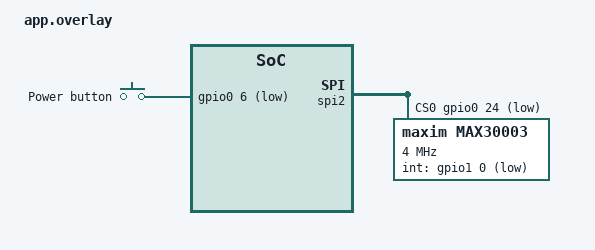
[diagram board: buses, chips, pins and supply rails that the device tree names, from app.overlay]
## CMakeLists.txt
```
cmake_minimum_required(VERSION 3.20.0)

find_package(Zephyr REQUIRED HINTS $ENV{ZEPHYR_BASE})
project(tinycardia_nrf52840)

target_sources(app PRIVATE
  src/main.c
  src/ble_protocol.c
  src/ble_service.c
  src/ecg_processing.c
  src/ecg_processor.c
  src/max30003.c
  src/power_control.c
)

target_include_directories(app PRIVATE include)
```

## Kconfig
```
# SPDX-License-Identifier: MIT

mainmenu "Tinycardia firmware"

menu "Tinycardia power control"

config TINYCARDIA_POWER_BUTTON_DEBUG
	bool "Log power-button and power-state transitions"
	help
	  Bench mode for diagnosing the active-low power button. Startup still
	  requires a valid three-second hold and the application runs normally.
	  While the system is ON, the firmware logs press/release transitions,
	  held time, and each accepted power-off hold. An accepted runtime hold
	  turns off the status LED and enters System OFF after logging acceptance.
	  The USB CDC console disconnects when System OFF is entered.

endmenu

menu "Tinycardia BLE protocol"

config TINYCARDIA_BLE_ECG_QUEUE_DEPTH
	int "Buffered ECG samples available to BLE streaming"
	default 64
	range 10 512
	help
	  Bounded producer-consumer queue between deterministic MAX30003
	  acquisition and asynchronous BLE notification work. Queue overflow is
	  counted in Device Status samples_dropped.

config TINYCARDIA_BLE_INFERENCE_QUEUE_DEPTH
	int "Buffered inference notifications"
	default 4
	range 1 32

config TINYCARDIA_BLE_THREAD_STACK_SIZE
	int "BLE protocol work-queue stack size in bytes"
	default 2048
	range 1024 8192

config TINYCARDIA_BLE_THREAD_PRIORITY
	int "BLE protocol work-queue priority"
	default 6
	range 0 15
	help
	  Preemptible BLE packetization/notification priority. The default is
	  lower priority than ECG preprocessing and higher than power polling.

endmenu

menu "Tinycardia MAX30003"

config TINYCARDIA_MAX30003_STATUS_POLL_MS
	int "MAX30003 health and lead/contact status period (ms)"
	default 1000
	range 250 10000
	help
	  Period for reading MAX30003 STATUS while monitoring. This provides
	  restrained lead/contact transition reporting and also detects a stalled
	  ECG acquisition path. Device Status is notified only when lead state
	  changes; it is not notified at this fixed rate.

endmenu

menu "Tinycardia ECG processing"

config TINYCARDIA_ECG_THREAD_STACK_SIZE
	int "ECG processing thread stack size in bytes"
	default 4096
	range 1024 8192
	help
	  Stack reserved for window standardization, R-peak detection, RR feature
	  extraction, and the future inference callback.

config TINYCARDIA_ECG_THREAD_PRIORITY
	int "ECG processing thread priority"
	default 5
	range 0 15
	help
	  Preemptible Zephyr thread priority used for completed ECG windows.

endmenu

menu "Tinycardia AFib inference"

config TINYCARDIA_MODEL_TENSOR_ARENA_SIZE
	int "TFLite Micro tensor arena size in bytes"
	default 98304
	range 65536 163840
	help
	  Static memory reserved for TFLite Micro tensors, persistent operator
	  data, and CMSIS-NN scratch buffers. Keep this value close to the
	  measured arena usage while retaining a small compatibility margin.

endmenu

source "Kconfig.zephyr"
```

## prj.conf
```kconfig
CONFIG_SERIAL=y
CONFIG_CONSOLE=y
CONFIG_UART_CONSOLE=y
CONFIG_PRINTK=y
CONFIG_LOG=y
CONFIG_COMPILER_WARNINGS_AS_ERRORS=y

CONFIG_GPIO=y
CONFIG_SPI=y
CONFIG_POWEROFF=y
CONFIG_FPU=y

CONFIG_CPP=y
CONFIG_STD_CPP17=y
CONFIG_TENSORFLOW_LITE_MICRO=y
CONFIG_TENSORFLOW_LITE_MICRO_CMSIS_NN_KERNELS=y

# Log power-button and power-state transitions over USB serial.
CONFIG_TINYCARDIA_POWER_BUTTON_DEBUG=y

CONFIG_BT=y
CONFIG_BT_PERIPHERAL=y
CONFIG_BT_DEVICE_NAME="Tinycardia"
CONFIG_BT_MAX_CONN=1
CONFIG_BT_BUF_ACL_RX_SIZE=69
CONFIG_BT_L2CAP_TX_MTU=65

CONFIG_BT_DIS=y
CONFIG_BT_DIS_MODEL_NUMBER=y
CONFIG_BT_DIS_MODEL_NUMBER_STR="Tinycardia v2"
CONFIG_BT_DIS_MANUF_NAME=y
CONFIG_BT_DIS_MANUF_NAME_STR="Tinycardia"
```

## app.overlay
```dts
#include <zephyr/dt-bindings/gpio/gpio.h>
#include <zephyr/dt-bindings/pinctrl/nrf-pinctrl.h>

/ {
	aliases {
		power-button = &power_button;
	};

	buttons {
		compatible = "gpio-keys";

		power_button: power_button {
			gpios = <&gpio0 6 (GPIO_PULL_UP | GPIO_ACTIVE_LOW)>;
			label = "Power button";
		};
	};
};

/* P1.00 is used by MAX30003 INT1, not the board's default I2C0 SDA. */
&i2c0 {
	status = "disabled";
};

&spi2_default {
	group1 {
		psels = <NRF_PSEL(SPIM_SCK, 0, 22)>,
			<NRF_PSEL(SPIM_MOSI, 0, 20)>,
			<NRF_PSEL(SPIM_MISO, 0, 17)>;
	};
};

&spi2_sleep {
	group1 {
		psels = <NRF_PSEL(SPIM_SCK, 0, 22)>,
			<NRF_PSEL(SPIM_MOSI, 0, 20)>,
			<NRF_PSEL(SPIM_MISO, 0, 17)>;
		low-power-enable;
	};
};

&spi2 {
	compatible = "nordic,nrf-spim";
	status = "okay";
	cs-gpios = <&gpio0 24 GPIO_ACTIVE_LOW>;

	max30003: max30003@0 {
		compatible = "maxim,max30003";
		reg = <0>; // spi chip select index
		spi-max-frequency = <4000000>; // max of 4 MHz
		int-gpios = <&gpio1 0 (GPIO_PULL_UP | GPIO_ACTIVE_LOW)>; // P1.00
	};
};
```

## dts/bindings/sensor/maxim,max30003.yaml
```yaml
description: Maxim MAX30003 single-channel ECG analog front end

compatible: "maxim,max30003"

include: spi-device.yaml

properties:
  int-gpios:
    type: phandle-array
    required: true
    description: Active-low INT1 interrupt signal
```

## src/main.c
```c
/* SPDX-License-Identifier: MIT */

#include "ble_service.h"
#include "ecg_processing.h"
#include "ecg_processor.h"
#include "inference_policy.h"
#include "max30003.h"
#include "model_inference.h"
#include "power_control.h"

#include <zephyr/kernel.h>
#include <zephyr/logging/log.h>
#include <zephyr/sys/printk.h>
#include <zephyr/sys/util.h>

LOG_MODULE_REGISTER(tinycardia, CONFIG_LOG_DEFAULT_LEVEL);

struct signal_quality_state {
	enum tinycardia_signal_quality current;
	uint64_t good_since_ms;
};

static struct k_spinlock signal_quality_lock;
static struct signal_quality_state signal_quality = {
	.current = TINYCARDIA_SIGNAL_QUALITY_UNKNOWN,
};

static void update_signal_quality(enum tinycardia_signal_quality quality)
{
	uint64_t now_ms = (uint64_t)k_uptime_get();
	k_spinlock_key_t key = k_spin_lock(&signal_quality_lock);

	if (quality == TINYCARDIA_SIGNAL_QUALITY_GOOD &&
	    signal_quality.current != TINYCARDIA_SIGNAL_QUALITY_GOOD) {
		signal_quality.good_since_ms = now_ms;
	}
	signal_quality.current = quality;
	k_spin_unlock(&signal_quality_lock, key);
}

static void prepared_window_handler(const struct ecg_prepared_window *window,
				    void *user_data)
{
	struct tinycardia_model_result result;
	struct signal_quality_state quality;
	k_spinlock_key_t quality_key;
	uint64_t now_ms;
	uint64_t window_start_ms;
	int32_t window_start_offset_ms;
	uint32_t model_start_cycles;
	uint32_t model_time_us;
	int err;

	ARG_UNUSED(user_data);

	LOG_INF("ECG window prepared: %u samples, %u R peaks, RR features %s",
		(unsigned int)window->sample_count,
		(unsigned int)window->r_peak_count,
		window->rr_features_valid ? "ready" : "insufficient R peaks");

	quality_key = k_spin_lock(&signal_quality_lock);
	quality = signal_quality;
	k_spin_unlock(&signal_quality_lock, quality_key);
	now_ms = (uint64_t)k_uptime_get();
	window_start_offset_ms = (int32_t)(window->start_timestamp_ms -
		(uint32_t)now_ms);
	window_start_ms = (uint64_t)((int64_t)now_ms +
		(int64_t)window_start_offset_ms);
	if (!tinycardia_inference_window_is_eligible(
		window->rr_features_valid, quality.current,
		window_start_ms, quality.good_since_ms)) {
		LOG_WRN("Inference skipped: RR valid %u, signal quality %u",
			(unsigned int)window->rr_features_valid,
			(unsigned int)quality.current);
		return;
	}

	model_start_cycles = k_cycle_get_32();
	err = tinycardia_model_infer(window->ecg_samples, window->sample_count,
				     window->rr_features,
				     ECG_PROCESSOR_RR_FEATURE_COUNT, &result);
	if (err < 0) {
		LOG_ERR("AFib inference failed: %d", err);
		tinycardia_ble_status_set_error(true);
		return;
	}
	model_time_us = (uint32_t)k_cyc_to_us_floor64(
		(uint32_t)(k_cycle_get_32() - model_start_cycles));

	err = tinycardia_ble_inference_publish(
		window->end_timestamp_ms, result.classification,
		TINYCARDIA_SIGNAL_QUALITY_GOOD, result.confidence);
	if (err < 0) {
		LOG_ERR("BLE inference publication failed: %d", err);
		return;
	}

	LOG_INF("Inference accepted: class %u, confidence %u, prep %u us, invoke %u us, total %u us",
		(unsigned int)result.classification,
		(unsigned int)result.confidence,
		(unsigned int)window->preparation_time_us,
		(unsigned int)result.invoke_time_us,
		(unsigned int)(window->preparation_time_us + model_time_us));
}

static void live_ecg_sample_handler(uint32_t raw_word, uint32_t timestamp_ms,
				    void *user_data)
{
	bool processing_preserved;

	ARG_UNUSED(user_data);
	processing_preserved = ecg_processor_submit_sample(raw_word, timestamp_ms);
	tinycardia_ble_ecg_sample(ecg_decode_raw_sample(raw_word), timestamp_ms,
				    processing_preserved);
}

static void lead_status_handler(enum max30003_lead_status status, void *user_data)
{
	enum tinycardia_lead_status protocol_status;

	ARG_UNUSED(user_data);

	switch (status) {
	case MAX30003_LEAD_STATUS_GOOD:
		protocol_status = TINYCARDIA_LEAD_STATUS_GOOD;
		update_signal_quality(TINYCARDIA_SIGNAL_QUALITY_GOOD);
		break;
	case MAX30003_LEAD_STATUS_NEGATIVE_OFF:
		/* MAX30003 ECGN is protocol lead/contact 1. */
		protocol_status = TINYCARDIA_LEAD_STATUS_LEAD_1_OFF;
		update_signal_quality(TINYCARDIA_SIGNAL_QUALITY_LEAD_OFF);
		break;
	case MAX30003_LEAD_STATUS_POSITIVE_OFF:
		/* MAX30003 ECGP is protocol lead/contact 2. */
		protocol_status = TINYCARDIA_LEAD_STATUS_LEAD_2_OFF;
		update_signal_quality(TINYCARDIA_SIGNAL_QUALITY_LEAD_OFF);
		break;
	case MAX30003_LEAD_STATUS_BOTH_OFF:
		protocol_status = TINYCARDIA_LEAD_STATUS_BOTH_OFF;
		update_signal_quality(TINYCARDIA_SIGNAL_QUALITY_LEAD_OFF);
		break;
	case MAX30003_LEAD_STATUS_UNKNOWN:
	default:
		protocol_status = TINYCARDIA_LEAD_STATUS_UNKNOWN;
		update_signal_quality(TINYCARDIA_SIGNAL_QUALITY_UNKNOWN);
		break;
	}

	(void)tinycardia_ble_status_set_lead(protocol_status);
}

static void dropped_sample_handler(uint32_t minimum_dropped, void *user_data)
{
	ARG_UNUSED(user_data);
	tinycardia_ble_record_dropped_samples(minimum_dropped);
}

static int set_monitoring(bool enabled, void *user_data)
{
	int err;

	ARG_UNUSED(user_data);

	if (!enabled) {
		err = max30003_set_monitoring(false);
		if (err < 0) {
			(void)ecg_processor_set_monitoring(max30003_is_monitoring());
			return err;
		}
		err = ecg_processor_set_monitoring(false);
		if (err == 0) {
			update_signal_quality(TINYCARDIA_SIGNAL_QUALITY_UNKNOWN);
			(void)tinycardia_ble_status_set_lead(
				TINYCARDIA_LEAD_STATUS_UNKNOWN);
		}
		return err;
	}

	(void)tinycardia_ble_status_set_lead(TINYCARDIA_LEAD_STATUS_CHECKING);
	update_signal_quality(TINYCARDIA_SIGNAL_QUALITY_UNKNOWN);
	err = ecg_processor_set_monitoring(true);
	if (err < 0) {
		return err;
	}
	err = max30003_set_monitoring(true);
	if (err < 0) {
		(void)ecg_processor_set_monitoring(max30003_is_monitoring());
		return err;
	}

	return 0;
}

static const struct tinycardia_ble_callbacks ble_callbacks = {
	.set_monitoring = set_monitoring,
};

int main(void)
{
	int err;

	err = power_control_wait_for_on();
	printk("power_control_wait_for_on returned %d\n", err);
	if (err < 0) {
		printk("Power-button initialization failed (err %d)\n", err);
		return 0;
	}

	printk("Tinycardia v2 booted\n");

	err = power_control_start_off_monitor();
	if (err < 0) {
		printk("Runtime power-button monitor initialization failed (err %d)\n", err);
		return 0;
	}

	update_signal_quality(TINYCARDIA_SIGNAL_QUALITY_UNKNOWN);
	err = tinycardia_model_init();
	if (err < 0) {
		printk("AFib model initialization failed (err %d)\n", err);
		return 0;
	}

	err = ecg_processor_init(prepared_window_handler, NULL);
	if (err < 0) {
		printk("ECG processor initialization failed (err %d)\n", err);
		return 0;
	}

	err = max30003_init(live_ecg_sample_handler, NULL);
	if (err < 0) {
		printk("MAX30003 initialization failed (err %d)\n", err);
		return 0;
	}

	err = tinycardia_ble_init(&ble_callbacks, NULL, true);
	if (err < 0) {
		printk("Bluetooth initialization failed (err %d)\n", err);
		return 0;
	}
	max30003_set_lead_status_handler(lead_status_handler, NULL);
	max30003_set_drop_handler(dropped_sample_handler, NULL);

	return 0;
}
```

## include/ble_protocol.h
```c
/* SPDX-License-Identifier: MIT */

#ifndef TINYCARDIA_BLE_PROTOCOL_H_
#define TINYCARDIA_BLE_PROTOCOL_H_

#include <stdbool.h>
#include <stddef.h>
#include <stdint.h>

#define TINYCARDIA_PROTOCOL_VERSION 0x01U

#define TINYCARDIA_ECG_MAX_SAMPLES        10U
#define TINYCARDIA_ECG_HEADER_SIZE        10U
#define TINYCARDIA_ECG_SAMPLE_SIZE        4U
#define TINYCARDIA_ECG_FULL_PACKET_SIZE   50U
#define TINYCARDIA_INFERENCE_PACKET_SIZE  13U
#define TINYCARDIA_STATUS_PACKET_SIZE     19U
#define TINYCARDIA_ATT_NOTIFICATION_OVERHEAD 3U
#define TINYCARDIA_ECG_FULL_PACKET_ATT_MTU    53U
#define TINYCARDIA_CONFIDENCE_UNAVAILABLE     UINT16_MAX

enum tinycardia_classification {
	TINYCARDIA_CLASSIFICATION_NORMAL = 0x00,
	TINYCARDIA_CLASSIFICATION_AFIB = 0x01,
	TINYCARDIA_CLASSIFICATION_UNKNOWN = 0x02,
};

enum tinycardia_signal_quality {
	TINYCARDIA_SIGNAL_QUALITY_GOOD = 0x00,
	TINYCARDIA_SIGNAL_QUALITY_POOR = 0x01,
	TINYCARDIA_SIGNAL_QUALITY_LEAD_OFF = 0x02,
	TINYCARDIA_SIGNAL_QUALITY_UNKNOWN = 0x03,
};

enum tinycardia_lead_status {
	TINYCARDIA_LEAD_STATUS_GOOD = 0x00,
	TINYCARDIA_LEAD_STATUS_LEAD_1_OFF = 0x01,
	TINYCARDIA_LEAD_STATUS_LEAD_2_OFF = 0x02,
	TINYCARDIA_LEAD_STATUS_BOTH_OFF = 0x03,
	TINYCARDIA_LEAD_STATUS_CHECKING = 0x04,
	TINYCARDIA_LEAD_STATUS_UNKNOWN = 0x05,
};

enum tinycardia_operating_state {
	TINYCARDIA_OPERATING_STATE_IDLE = 0x00,
	TINYCARDIA_OPERATING_STATE_MONITORING = 0x01,
	TINYCARDIA_OPERATING_STATE_MONITORING_AND_STREAMING = 0x02,
	TINYCARDIA_OPERATING_STATE_ERROR = 0x03,
};

enum tinycardia_control_command {
	TINYCARDIA_CONTROL_START_STREAM = 0x01,
	TINYCARDIA_CONTROL_STOP_STREAM = 0x02,
	TINYCARDIA_CONTROL_START_MONITORING = 0x03,
	TINYCARDIA_CONTROL_STOP_MONITORING = 0x04,
};

struct tinycardia_inference_result {
	uint32_t inference_id;
	uint32_t timestamp_ms;
	enum tinycardia_classification classification;
	enum tinycardia_signal_quality signal_quality;
	uint16_t confidence;
};

struct tinycardia_status {
	uint32_t uptime_s;
	uint32_t samples_acquired;
	uint32_t samples_dropped;
	uint32_t inference_count;
	enum tinycardia_lead_status lead_status;
	enum tinycardia_operating_state operating_state;
};

struct tinycardia_protocol_state {
	bool monitoring;
	bool streaming;
	bool error;
};

struct tinycardia_transport_state {
	bool connected;
	bool ecg_subscribed;
	uint8_t max_ecg_samples;
};

/** Serialize an ECG packet without relying on native structure layout. */
int tinycardia_encode_ecg_packet(uint8_t *buffer, size_t capacity,
				 uint32_t sequence, uint32_t timestamp_ms,
				 const int32_t *samples, uint8_t sample_count,
				 size_t *encoded_size);

/** Serialize one completed inference result. */
int tinycardia_encode_inference_packet(uint8_t *buffer, size_t capacity,
				       const struct tinycardia_inference_result *result);

/** Serialize the current readable/notifiable device status. */
int tinycardia_encode_status_packet(uint8_t *buffer, size_t capacity,
				    const struct tinycardia_status *status);

/** Return the number of int32 ECG samples that fit in one notification. */
uint8_t tinycardia_ecg_samples_for_att_mtu(uint16_t att_mtu);

/** True when a wrapping uptime timestamp belongs to the current session. */
bool tinycardia_timestamp_is_in_session(uint32_t timestamp_ms,
					uint32_t session_start_ms);

/** Validate and decode the exact one-byte Device Control payload. */
int tinycardia_decode_control(const uint8_t *buffer, size_t length,
			       enum tinycardia_control_command *command);

/** Apply one validated control command to the protocol state. */
int tinycardia_apply_control(struct tinycardia_protocol_state *state,
			     enum tinycardia_control_command command,
			     const struct tinycardia_transport_state *transport);

/** A disconnect stops connection streaming but leaves monitoring unchanged. */
void tinycardia_state_on_disconnect(struct tinycardia_protocol_state *state);

enum tinycardia_operating_state
tinycardia_get_operating_state(const struct tinycardia_protocol_state *state);

#endif /* TINYCARDIA_BLE_PROTOCOL_H_ */
```

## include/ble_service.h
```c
/* SPDX-License-Identifier: MIT */

#ifndef TINYCARDIA_BLE_SERVICE_H_
#define TINYCARDIA_BLE_SERVICE_H_

#include "ble_protocol.h"

#include <stdbool.h>
#include <stdint.h>

#include <zephyr/bluetooth/uuid.h>

/*
 * Tinycardia vendor UUID family (fixed for protocol v1):
 *   f8a50001-7c5b-4e91-a6d2-3b1c9e4f5200  service
 *   f8a50002-7c5b-4e91-a6d2-3b1c9e4f5200  ECG Stream
 *   f8a50003-7c5b-4e91-a6d2-3b1c9e4f5200  Inference Result
 *   f8a50004-7c5b-4e91-a6d2-3b1c9e4f5200  Device Status
 *   f8a50005-7c5b-4e91-a6d2-3b1c9e4f5200  Device Control
 */
#define TINYCARDIA_UUID_SERVICE_VAL \
	BT_UUID_128_ENCODE(0xf8a50001, 0x7c5b, 0x4e91, 0xa6d2, 0x3b1c9e4f5200)
#define TINYCARDIA_UUID_ECG_STREAM_VAL \
	BT_UUID_128_ENCODE(0xf8a50002, 0x7c5b, 0x4e91, 0xa6d2, 0x3b1c9e4f5200)
#define TINYCARDIA_UUID_INFERENCE_VAL \
	BT_UUID_128_ENCODE(0xf8a50003, 0x7c5b, 0x4e91, 0xa6d2, 0x3b1c9e4f5200)
#define TINYCARDIA_UUID_STATUS_VAL \
	BT_UUID_128_ENCODE(0xf8a50004, 0x7c5b, 0x4e91, 0xa6d2, 0x3b1c9e4f5200)
#define TINYCARDIA_UUID_CONTROL_VAL \
	BT_UUID_128_ENCODE(0xf8a50005, 0x7c5b, 0x4e91, 0xa6d2, 0x3b1c9e4f5200)

struct tinycardia_ble_callbacks {
	int (*set_monitoring)(bool enabled, void *user_data);
};

/** Enable Bluetooth, register callbacks, and begin Tinycardia advertising. */
int tinycardia_ble_init(const struct tinycardia_ble_callbacks *callbacks,
			void *user_data, bool monitoring_enabled);

/** Current logical monitoring state, independent of BLE connection state. */
bool tinycardia_ble_is_monitoring(void);

/**
 * Record and optionally queue one acquired signed MAX30003 sample.
 *
 * This function is non-blocking and is called from the MAX30003 work handler,
 * never from its GPIO ISR. processing_preserved is false when the analysis
 * path could not retain the sample; that and BLE queue failures contribute to
 * samples_dropped exactly once for this sample.
 */
void tinycardia_ble_ecg_sample(int32_t sample, uint32_t timestamp_ms,
				       bool processing_preserved);

/** Record samples lost below the application acquisition callback. */
void tinycardia_ble_record_dropped_samples(uint32_t count);

/** Publish one real completed inference result; no result is fabricated here. */
int tinycardia_ble_inference_publish(uint32_t timestamp_ms,
				     enum tinycardia_classification classification,
				     enum tinycardia_signal_quality signal_quality,
				     uint16_t confidence);

/** Update the standard Battery Level value and notify subscribers on change. */
int tinycardia_ble_battery_set_level(uint8_t percentage);

/** Update lead/contact status and notify Device Status subscribers on change. */
int tinycardia_ble_status_set_lead(enum tinycardia_lead_status lead_status);

/** Set or clear the explicit ERROR operating state. */
void tinycardia_ble_status_set_error(bool error);

#endif /* TINYCARDIA_BLE_SERVICE_H_ */
```

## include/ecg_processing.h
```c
/* SPDX-License-Identifier: MIT */

#ifndef TINYCARDIA_ECG_PROCESSING_H_
#define TINYCARDIA_ECG_PROCESSING_H_

#include "ecg_processor.h"

#include <stdbool.h>
#include <stddef.h>
#include <stdint.h>

#define ECG_PROCESSING_MAX_R_PEAKS 64U

enum ecg_window_append_result {
	ECG_WINDOW_SAMPLE_STORED,
	ECG_WINDOW_COMPLETED,
	ECG_WINDOW_ALREADY_FULL,
};

struct ecg_sample_window {
	float samples[ECG_PROCESSOR_WINDOW_SIZE];
	size_t count;
};

struct ecg_processing_workspace {
	float squared_derivative[ECG_PROCESSOR_WINDOW_SIZE];
	float integrated_signal[ECG_PROCESSOR_WINDOW_SIZE];
	size_t r_peak_indices[ECG_PROCESSING_MAX_R_PEAKS];
};

struct ecg_rr_result {
	float intervals_ms[ECG_PROCESSING_MAX_R_PEAKS - 1U];
	size_t interval_count;
	float features_unscaled[ECG_PROCESSOR_RR_FEATURE_COUNT];
	float features_standardized[ECG_PROCESSOR_RR_FEATURE_COUNT];
	bool features_valid;
};

struct ecg_processing_result {
	struct ecg_rr_result rr;
	size_t r_peak_count;
};

/** Extract the signed 18-bit ECG sample while ignoring FIFO tag/status bits. */
int32_t ecg_decode_raw_sample(uint32_t raw_word);

/** Decode one MAX30003 FIFO word and convert the sample to millivolts. */
float ecg_decode_sample_mv(uint32_t raw_word);

void ecg_sample_window_reset(struct ecg_sample_window *window);

enum ecg_window_append_result ecg_sample_window_append(struct ecg_sample_window *window,
							       float sample);

/**
 * Compute RR intervals and model features from ordered, in-window peak indices.
 *
 * Fewer than three peaks is a valid but unavailable result: intervals are
 * reported when possible, features are zero before standardization, and
 * features_valid is false.
 */
int ecg_extract_rr_features(const size_t *peak_indices, size_t peak_count,
			    struct ecg_rr_result *result);

/** Standardize a complete window and prepare both model input branches. */
int ecg_prepare_model_inputs(struct ecg_sample_window *window,
			     struct ecg_processing_workspace *workspace,
			     struct ecg_processing_result *result);

#endif /* TINYCARDIA_ECG_PROCESSING_H_ */
```

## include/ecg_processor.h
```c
/* SPDX-License-Identifier: MIT */

#ifndef TINYCARDIA_ECG_PROCESSOR_H_
#define TINYCARDIA_ECG_PROCESSOR_H_

#include <stdbool.h>
#include <stddef.h>
#include <stdint.h>

#define ECG_PROCESSOR_SAMPLE_RATE_HZ   256U
#define ECG_PROCESSOR_WINDOW_SECONDS   10U
#define ECG_PROCESSOR_WINDOW_SIZE      (ECG_PROCESSOR_SAMPLE_RATE_HZ * ECG_PROCESSOR_WINDOW_SECONDS)
#define ECG_PROCESSOR_RR_FEATURE_COUNT 7U

enum ecg_rr_feature_index {
	ECG_RR_MEAN_RR_MS,
	ECG_RR_SDNN_MS,
	ECG_RR_RMSSD_MS,
	ECG_RR_PNN50,
	ECG_RR_PNN20,
	ECG_RR_SD1_MS,
	ECG_RR_SD2_MS,
};

/**
 * Prepared model inputs for one non-overlapping ECG window.
 *
 * The ECG samples and RR features are standardized using the same constants as
 * the model-training pipeline. The unscaled RR features are provided for
 * diagnostics. All pointers remain valid only for the duration of the handler.
 */
struct ecg_prepared_window {
	const float *ecg_samples;
	const float *rr_features;
	const float *rr_features_unscaled;
	size_t sample_count;
	size_t r_peak_count;
	bool rr_features_valid;
	uint32_t start_timestamp_ms;
	uint32_t end_timestamp_ms;
	uint32_t preparation_time_us;
};

typedef void (*ecg_window_handler_t)(const struct ecg_prepared_window *window, void *user_data);

/**
 * Initialize the ECG window processor.
 *
 * The window handler runs on the ECG processing thread and owns its completed
 * slot until it returns. Acquisition concurrently fills the second slot, so
 * normal preprocessing does not create a sampling gap.
 */
int ecg_processor_init(ecg_window_handler_t window_handler, void *user_data);

/** Start or stop normal 10-second window capture and preprocessing. */
int ecg_processor_set_monitoring(bool enabled);

/**
 * Submit one acquired sample with its acquisition timestamp.
 *
 * Returns true when the analysis path preserved the sample and false when
 * monitoring was stopped or both bounded window slots were occupied.
 */
bool ecg_processor_submit_sample(uint32_t raw_word, uint32_t timestamp_ms);

/** Compatibility callback using current uptime as the sample timestamp. */
void ecg_processor_sample_handler(uint32_t raw_word, void *user_data);

#endif /* TINYCARDIA_ECG_PROCESSOR_H_ */
```

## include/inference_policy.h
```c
#ifndef TINYCARDIA_INFERENCE_POLICY_H_
#define TINYCARDIA_INFERENCE_POLICY_H_

#include "ble_protocol.h"
#include <stdbool.h>
#include <stdint.h>

static inline bool
tinycardia_inference_window_is_eligible(bool rr_features_valid,
					enum tinycardia_signal_quality current_quality,
					uint64_t window_start_ms, uint64_t quality_good_since_ms)
{
	return rr_features_valid && current_quality == TINYCARDIA_SIGNAL_QUALITY_GOOD &&
	       window_start_ms >= quality_good_since_ms;
}

#endif /* TINYCARDIA_INFERENCE_POLICY_H_ */
```

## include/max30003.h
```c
#ifndef TINYCARDIA_MAX30003_H_
#define TINYCARDIA_MAX30003_H_

#include <stdbool.h>
#include <stdint.h>

typedef void (*max30003_sample_handler_t)(uint32_t raw_word, uint32_t timestamp_ms,
					 void *user_data);

enum max30003_lead_status {
	MAX30003_LEAD_STATUS_GOOD,
	MAX30003_LEAD_STATUS_NEGATIVE_OFF,
	MAX30003_LEAD_STATUS_POSITIVE_OFF,
	MAX30003_LEAD_STATUS_BOTH_OFF,
	MAX30003_LEAD_STATUS_UNKNOWN,
};

typedef void (*max30003_lead_status_handler_t)(enum max30003_lead_status status,
					       void *user_data);
typedef void (*max30003_drop_handler_t)(uint32_t minimum_dropped, void *user_data);

/* Initializes SPI, INT1, and the ECG acquisition registers. */
int max30003_init(max30003_sample_handler_t sample_handler, void *user_data);

/* Enable or disable the ECG front end and its FIFO interrupt path. */
int max30003_set_monitoring(bool enabled);

/* Current driver-level acquisition state after any transition rollback. */
bool max30003_is_monitoring(void);

/* Register for meaningful DC lead-off transitions detected while monitoring. */
void max30003_set_lead_status_handler(max30003_lead_status_handler_t handler,
				      void *user_data);

/* Register for FIFO discontinuities; the count is a conservative lower bound. */
void max30003_set_drop_handler(max30003_drop_handler_t handler, void *user_data);

int max30003_read_register(uint8_t reg, uint32_t *value);
int max30003_write_register(uint8_t reg, uint32_t value);
int max30003_sanity_check(uint32_t *info);
int max30003_dump_registers(void);

#endif /* TINYCARDIA_MAX30003_H_ */
```

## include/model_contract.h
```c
#ifndef TINYCARDIA_MODEL_CONTRACT_H_
#define TINYCARDIA_MODEL_CONTRACT_H_

#include <math.h>
#include <stdint.h>

#define TINYCARDIA_MODEL_ECG_COUNT   2560U
#define TINYCARDIA_MODEL_RR_COUNT    7U
#define TINYCARDIA_MODEL_CLASS_COUNT 2U

#define TINYCARDIA_MODEL_RR_SCALE          0.014579945243895054f
#define TINYCARDIA_MODEL_RR_ZERO_POINT     (-27)
#define TINYCARDIA_MODEL_ECG_SCALE         0.04720002040266991f
#define TINYCARDIA_MODEL_ECG_ZERO_POINT    (-15)
#define TINYCARDIA_MODEL_OUTPUT_SCALE      0.00390625f
#define TINYCARDIA_MODEL_OUTPUT_ZERO_POINT (-128)

static inline int8_t tinycardia_model_quantize(float value, float scale, int32_t zero_point)
{
	long quantized = lroundf(value / scale) + zero_point;

	if (quantized < INT8_MIN) {
		quantized = INT8_MIN;
	} else if (quantized > INT8_MAX) {
		quantized = INT8_MAX;
	}

	return (int8_t)quantized;
}

static inline float tinycardia_model_dequantize(int8_t value, float scale, int32_t zero_point)
{
	return ((float)value - (float)zero_point) * scale;
}

#endif /* TINYCARDIA_MODEL_CONTRACT_H_ */
```

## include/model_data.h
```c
#ifndef TINYCARDIA_MODEL_DATA_H_
#define TINYCARDIA_MODEL_DATA_H_

#include <stddef.h>

#ifdef __cplusplus
extern "C" {
#endif

extern const unsigned char tinycardia_model_data[];
extern const size_t tinycardia_model_data_size;

#ifdef __cplusplus
}
#endif

#endif /* TINYCARDIA_MODEL_DATA_H_ */
```

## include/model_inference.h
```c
#ifndef TINYCARDIA_MODEL_INFERENCE_H_
#define TINYCARDIA_MODEL_INFERENCE_H_

#include "ble_protocol.h"
#include "model_contract.h"

#include <stddef.h>
#include <stdint.h>

#ifdef __cplusplus
extern "C" {
#endif

struct tinycardia_model_result {
	enum tinycardia_classification classification;
	uint16_t confidence;
	int8_t quantized_probabilities[TINYCARDIA_MODEL_CLASS_COUNT];
	uint32_t invoke_time_us;
};

/** Initialize TFLM and validate the complete embedded model contract. */
int tinycardia_model_init(void);

/**
 * Quantize one prepared ECG/RR window and run inference synchronously.
 *
 * This function is called only from the ECG processing thread. It owns no
 * input buffers and does not publish BLE data.
 */
int tinycardia_model_infer(const float *ecg, size_t ecg_count, const float *rr_features,
			   size_t rr_count, struct tinycardia_model_result *result);

/** Actual bytes used within the statically allocated tensor arena. */
size_t tinycardia_model_arena_used_bytes(void);

#ifdef __cplusplus
}
#endif

#endif /* TINYCARDIA_MODEL_INFERENCE_H_ */
```

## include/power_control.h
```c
#ifndef TINYCARDIA_POWER_CONTROL_H_
#define TINYCARDIA_POWER_CONTROL_H_

/*
 * Blocks until the power button has been held continuously for three seconds.
 * A released or short-pressed button returns the nRF52840 to System OFF.
 */
int power_control_wait_for_on(void);

/*
 * Starts the runtime button monitor. After the initial power-on button is
 * released, another continuous three-second hold enters System OFF.
 */
int power_control_start_off_monitor(void);

/* Configures the power button as a wake source and enters System OFF. */
void power_control_enter_ultra_low_power(void);

#endif /* TINYCARDIA_POWER_CONTROL_H_ */
```

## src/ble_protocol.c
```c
/* SPDX-License-Identifier: MIT */

#include "ble_protocol.h"

#include <errno.h>

#include <zephyr/sys/byteorder.h>

static bool inference_result_is_valid(const struct tinycardia_inference_result *result)
{
	return result->classification >= TINYCARDIA_CLASSIFICATION_NORMAL &&
	       result->classification <= TINYCARDIA_CLASSIFICATION_UNKNOWN &&
	       result->signal_quality >= TINYCARDIA_SIGNAL_QUALITY_GOOD &&
	       result->signal_quality <= TINYCARDIA_SIGNAL_QUALITY_UNKNOWN &&
	       (result->confidence <= 10000U ||
		result->confidence == TINYCARDIA_CONFIDENCE_UNAVAILABLE);
}

int tinycardia_encode_ecg_packet(uint8_t *buffer, size_t capacity,
				 uint32_t sequence, uint32_t timestamp_ms,
				 const int32_t *samples, uint8_t sample_count,
				 size_t *encoded_size)
{
	size_t packet_size;

	if (buffer == NULL || samples == NULL || encoded_size == NULL || sample_count == 0U ||
	    sample_count > TINYCARDIA_ECG_MAX_SAMPLES) {
		return -EINVAL;
	}

	packet_size = TINYCARDIA_ECG_HEADER_SIZE +
		      (size_t)sample_count * TINYCARDIA_ECG_SAMPLE_SIZE;
	if (capacity < packet_size) {
		return -EMSGSIZE;
	}

	buffer[0] = TINYCARDIA_PROTOCOL_VERSION;
	sys_put_le32(sequence, &buffer[1]);
	sys_put_le32(timestamp_ms, &buffer[5]);
	buffer[9] = sample_count;
	for (size_t index = 0; index < sample_count; ++index) {
		sys_put_le32((uint32_t)samples[index],
			     &buffer[TINYCARDIA_ECG_HEADER_SIZE +
				     index * TINYCARDIA_ECG_SAMPLE_SIZE]);
	}

	*encoded_size = packet_size;
	return 0;
}

int tinycardia_encode_inference_packet(uint8_t *buffer, size_t capacity,
				       const struct tinycardia_inference_result *result)
{
	if (buffer == NULL || result == NULL || !inference_result_is_valid(result)) {
		return -EINVAL;
	}
	if (capacity < TINYCARDIA_INFERENCE_PACKET_SIZE) {
		return -EMSGSIZE;
	}

	buffer[0] = TINYCARDIA_PROTOCOL_VERSION;
	sys_put_le32(result->inference_id, &buffer[1]);
	sys_put_le32(result->timestamp_ms, &buffer[5]);
	buffer[9] = (uint8_t)result->classification;
	buffer[10] = (uint8_t)result->signal_quality;
	sys_put_le16(result->confidence, &buffer[11]);

	return 0;
}

int tinycardia_encode_status_packet(uint8_t *buffer, size_t capacity,
				    const struct tinycardia_status *status)
{
	if (buffer == NULL || status == NULL ||
	    status->lead_status < TINYCARDIA_LEAD_STATUS_GOOD ||
	    status->lead_status > TINYCARDIA_LEAD_STATUS_UNKNOWN ||
	    status->operating_state < TINYCARDIA_OPERATING_STATE_IDLE ||
	    status->operating_state > TINYCARDIA_OPERATING_STATE_ERROR) {
		return -EINVAL;
	}
	if (capacity < TINYCARDIA_STATUS_PACKET_SIZE) {
		return -EMSGSIZE;
	}

	buffer[0] = TINYCARDIA_PROTOCOL_VERSION;
	sys_put_le32(status->uptime_s, &buffer[1]);
	sys_put_le32(status->samples_acquired, &buffer[5]);
	sys_put_le32(status->samples_dropped, &buffer[9]);
	sys_put_le32(status->inference_count, &buffer[13]);
	buffer[17] = (uint8_t)status->lead_status;
	buffer[18] = (uint8_t)status->operating_state;

	return 0;
}

uint8_t tinycardia_ecg_samples_for_att_mtu(uint16_t att_mtu)
{
	size_t value_capacity;
	size_t samples;

	if (att_mtu <= TINYCARDIA_ATT_NOTIFICATION_OVERHEAD) {
		return 0U;
	}

	value_capacity = att_mtu - TINYCARDIA_ATT_NOTIFICATION_OVERHEAD;
	if (value_capacity < TINYCARDIA_ECG_HEADER_SIZE + TINYCARDIA_ECG_SAMPLE_SIZE) {
		return 0U;
	}

	samples = (value_capacity - TINYCARDIA_ECG_HEADER_SIZE) /
		  TINYCARDIA_ECG_SAMPLE_SIZE;
	if (samples > TINYCARDIA_ECG_MAX_SAMPLES) {
		samples = TINYCARDIA_ECG_MAX_SAMPLES;
	}

	return (uint8_t)samples;
}

bool tinycardia_timestamp_is_in_session(uint32_t timestamp_ms,
					uint32_t session_start_ms)
{
	/* Valid for comparisons separated by less than half the uint32_t range. */
	return (int32_t)(timestamp_ms - session_start_ms) >= 0;
}

int tinycardia_decode_control(const uint8_t *buffer, size_t length,
			       enum tinycardia_control_command *command)
{
	if (buffer == NULL || command == NULL) {
		return -EINVAL;
	}
	if (length != 1U) {
		return -EMSGSIZE;
	}
	if (buffer[0] < TINYCARDIA_CONTROL_START_STREAM ||
	    buffer[0] > TINYCARDIA_CONTROL_STOP_MONITORING) {
		return -ENOTSUP;
	}

	*command = (enum tinycardia_control_command)buffer[0];
	return 0;
}

int tinycardia_apply_control(struct tinycardia_protocol_state *state,
			     enum tinycardia_control_command command,
			     const struct tinycardia_transport_state *transport)
{
	if (state == NULL || transport == NULL) {
		return -EINVAL;
	}

	switch (command) {
	case TINYCARDIA_CONTROL_START_STREAM:
		if (!state->monitoring) {
			return -EACCES;
		}
		if (!transport->connected || !transport->ecg_subscribed ||
		    transport->max_ecg_samples == 0U) {
			return -EAGAIN;
		}
		state->streaming = true;
		return 0;
	case TINYCARDIA_CONTROL_STOP_STREAM:
		state->streaming = false;
		return 0;
	case TINYCARDIA_CONTROL_START_MONITORING:
		state->monitoring = true;
		return 0;
	case TINYCARDIA_CONTROL_STOP_MONITORING:
		state->streaming = false;
		state->monitoring = false;
		return 0;
	default:
		return -ENOTSUP;
	}
}

void tinycardia_state_on_disconnect(struct tinycardia_protocol_state *state)
{
	if (state != NULL) {
		state->streaming = false;
	}
}

enum tinycardia_operating_state
tinycardia_get_operating_state(const struct tinycardia_protocol_state *state)
{
	if (state == NULL || state->error) {
		return TINYCARDIA_OPERATING_STATE_ERROR;
	}
	if (state->monitoring && state->streaming) {
		return TINYCARDIA_OPERATING_STATE_MONITORING_AND_STREAMING;
	}
	if (state->monitoring) {
		return TINYCARDIA_OPERATING_STATE_MONITORING;
	}

	return TINYCARDIA_OPERATING_STATE_IDLE;
}
```
